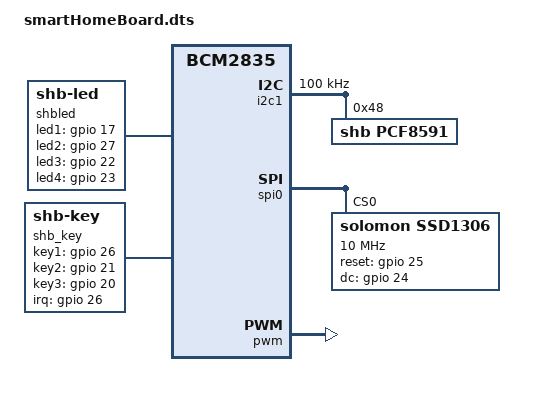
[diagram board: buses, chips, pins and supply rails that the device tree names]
// Definitions for gpio-key module
/dts-v1/;
/plugin/;

/ {
	compatible = "brcm,bcm2835";

	fragment@0{
		target-path = "/";
		__overlay__ {
			shbled: shbled@0 {
				compatible = "shb-led";
				pinctrl-names = "default";
				pinctrl-0 = <&shbled_pins>;
				status = "okay";

				led1-gpios = <&gpio 17 0>;	
				led2-gpios = <&gpio 27 0>;	
				led3-gpios = <&gpio 22 0>;	
				led4-gpios = <&gpio 23 0>;	
			};

			shb_key: shb_key@0{
				compatible = "shb-key";
				pinctrl-names = "default";
				pinctrl-0  = <&shb_key_pins>;
				status = "okay";

				key1-gpios = <&gpio 26 0>;
				key2-gpios = <&gpio 21 0>;
				key3-gpios = <&gpio 20 0>;

				interrupt-parent = <&gpio>;
				interrupts = <26 2>,<21 2>,<20 2>;
			};
		};
	};

	fragment@1 {
		// Configure the gpio pin controller
		target = <&gpio>;
		__overlay__ {
			shbled_pins: shbled_pins@0 {
				brcm,pins = <17 27 22 23>; // gpio number
				brcm,function = <1 1 1 1>; // 0 = input, 1 = output
				brcm,pull = <2 2 2 2>; // 0 = none, 1 = pull down, 2 = pull up
			};
			shb_key_pins: shb_key_pins@0 {
				brcm,pins = <26 21 20>; // gpio number
				brcm,function = <0 0 0>; // 0 = input, 1 = output
				brcm,pull = <2 2 2>; // 0 = none, 1 = pull down, 2 = pull up
			};
			ssd1306_pins: ssd1306_pins {
				brcm,pins = <25 24>;
				brcm,function = <1 1>; /* out out */
			};
			pwm_pins: pwm_pins {
				brcm,pins = <18>;
				brcm,function = <2>; /* Alt5 */
			};
		};
	};

	fragment@2 {
		// Configure the gpio pin controller
		target = <&i2c1>;
		__overlay__ {
			clock-frequency = <100000>;
			status = "okay";
			pinctrl-names = "default";
			pinctrl-0 = <&i2c1_pins>;
			
			pcf8591@48{
				compatible = "shb,pcf8591";
				reg = <0x48>;
			};
		};
	};

	fragment@3 {
		target = <&i2c1_pins>;
		pins1: __overlay__ {
			brcm,pins = <2 3>;
			brcm,function = <4>; /* alt 0 */
		};
	};

	fragment@4 {
		target = <&spi0>;
		__overlay__ {
			/* needed to avoid dtc warning */
			#address-cells = <1>;
			#size-cells = <0>;
			status = "okay";
			
			ssd1306: ssd1306@0{
				compatible = "solomon,ssd1306";
				reg = <0>;
				pinctrl-names = "default";
				pinctrl-0 = <&ssd1306_pins>;
				spi-max-frequency = <10000000>;
				reset-gpios = <&gpio 25 0>;
				dc-gpios = <&gpio 24 0>;
			};
		};
	};

	fragment@5 {
		target = <&spidev0>;
		__overlay__ {
			status = "disabled";
		};
	};

	fragment@6 {
		target = <&spidev1>;
		__overlay__ {
			status = "disabled";
		};
	};

	fragment@7 {
		target = <&pwm>;
		__overlay__ {
			pinctrl-names = "default";
			pinctrl-0 = <&pwm_pins>;
			assigned-clock-rates = <100000000>;
			status = "okay";
		};
	};

};
